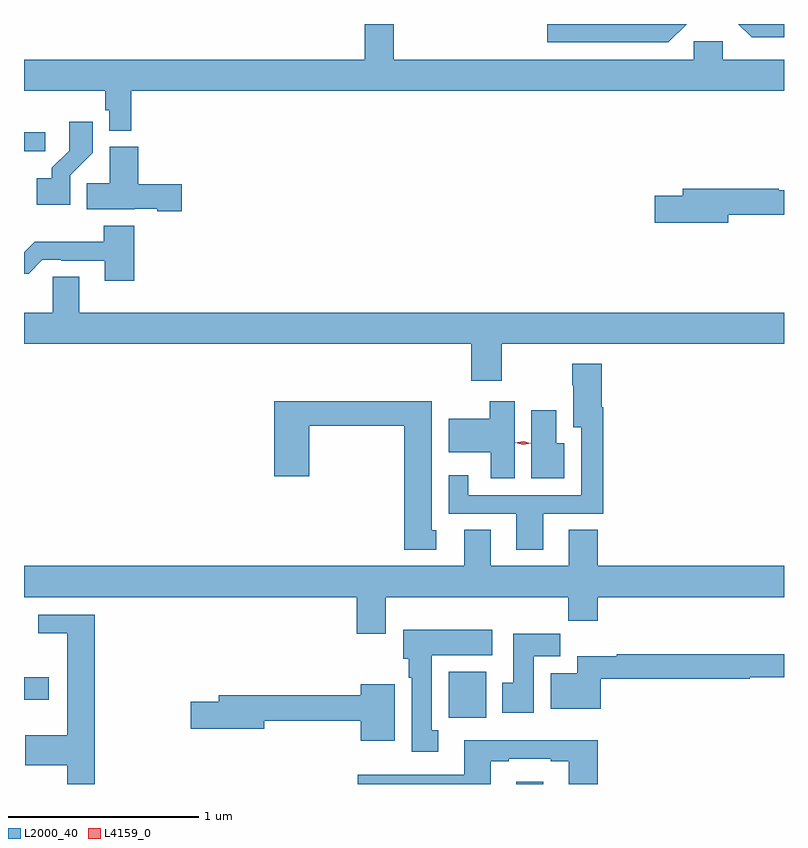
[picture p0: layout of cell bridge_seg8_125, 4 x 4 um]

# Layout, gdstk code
import gdstk
lib = gdstk.Library(unit=1e-6, precision=1e-09)
def R(c, l, rs):  # rectangles x0, y0, x1, y1
    for r in rs: c.add(gdstk.rectangle(r[:2], r[2:], *l))
def P(c, l, *ps):  # polygons
    for p in ps: c.add(gdstk.Polygon(p, *l))
L2000_40 = (2000, 40)
L4159_0 = (4159, 0)

bridge_seg8_125 = lib.new_cell('bridge_seg8_125')
R(bridge_seg8_125, L2000_40, [(858.803,1148.816,858.943,1148.827), (858.446,1149.164,858.643,1149.406), (856.211,1149.26,856.342,1149.379), (856.211,1152.147,856.324,1152.246)])
P(bridge_seg8_125, L2000_40, [(856.775,1152.464),(860.211,1152.464),(860.211,1152.628),(859.889,1152.628),(859.889,1152.726),(859.737,1152.726),(859.737,1152.628),(858.157,1152.628),(858.157,1152.816),(858.005,1152.816),(858.005,1152.628),(856.211,1152.628),(856.211,1152.464),(856.639,1152.464),(856.639,1152.363),(856.659,1152.363),(856.659,1152.254),(856.775,1152.254)],
  [(858.843,1152.816),(858.245,1152.816),(858.245,1152.815),(858.842,1152.815)],
  [(860.211,1152.816),(859.97,1152.816),(860.04,1152.746),(860.211,1152.746)],
  [(859.699,1152.816),(858.966,1152.816),(858.966,1152.72),(859.603,1152.72)],
  [(856.455,1152.019),(856.574,1152.138),(856.574,1152.301),(856.449,1152.301),(856.449,1152.149),(856.358,1152.059),(856.358,1152.004),(856.278,1152.004),(856.278,1151.864),(856.455,1151.864)],
  [(857.041,1151.973),(856.811,1151.973),(856.811,1152.169),(856.661,1152.169),(856.661,1151.978),(856.54,1151.978),(856.54,1151.84),(856.794,1151.84),(856.794,1151.843),(856.911,1151.843),(856.911,1151.831),(857.041,1151.831)],
  [(859.918,1151.812),(860.211,1151.812),(860.211,1151.941),(860.183,1151.941),(860.183,1151.948),(859.679,1151.948),(859.679,1151.912),(859.53,1151.912),(859.53,1151.77),(859.918,1151.77)],
  [(856.79,1151.755),(856.63,1151.755),(856.63,1151.671),(856.267,1151.671),(856.211,1151.615),(856.211,1151.501),(856.235,1151.501),(856.308,1151.574),(856.408,1151.574),(856.408,1151.571),(856.637,1151.571),(856.637,1151.466),(856.79,1151.466)],
  [(858.726,1151.132),(860.211,1151.132),(860.211,1151.296),(856.501,1151.296),(856.501,1151.486),(856.362,1151.486),(856.362,1151.296),(856.211,1151.296),(856.211,1151.132),(858.566,1151.132),(858.566,1150.938),(858.726,1150.938)],
  [(858.943,1150.239),(859.259,1150.239),(859.259,1150.798),(859.253,1150.798),(859.253,1151.029),(859.096,1151.029),(859.096,1150.916),(859.103,1150.916),(859.103,1150.694),(859.143,1150.694),(859.143,1150.335),(858.55,1150.335),(858.55,1150.441),(858.446,1150.441),(858.446,1150.239),(858.803,1150.239),(858.803,1150.05),(858.943,1150.05)],
  [(858.793,1150.831),(858.661,1150.831),(858.661,1150.738),(858.446,1150.738),(858.446,1150.562),(858.668,1150.562),(858.668,1150.424),(858.793,1150.424)],
  [(858.382,1150.152),(858.358,1150.152),(858.358,1150.831),(857.528,1150.831),(857.528,1150.437),(857.711,1150.437),(857.711,1150.702),(858.212,1150.702),(858.212,1150.05),(858.382,1150.05)],
  [(859.054,1150.609),(859.012,1150.609),(859.012,1150.783),(858.881,1150.783),(858.881,1150.424),(859.054,1150.424)],
  [(858.115,1149.8),(859.075,1149.8),(859.075,1149.676),(859.232,1149.676),(859.232,1149.8),(860.211,1149.8),(860.211,1149.964),(859.232,1149.964),(859.232,1150.154),(859.079,1150.154),(859.079,1149.964),(858.667,1149.964),(858.667,1150.154),(858.527,1150.154),(858.527,1149.964),(856.211,1149.964),(856.211,1149.8),(857.963,1149.8),(857.963,1149.606),(858.115,1149.606)],
  [(856.583,1149.708),(856.287,1149.708),(856.287,1149.61),(856.439,1149.61),(856.439,1149.073),(856.218,1149.073),(856.218,1148.915),(856.439,1148.915),(856.439,1148.816),(856.583,1148.816)],
  [(858.391,1149.098),(858.358,1149.098),(858.358,1149.494),(858.676,1149.494),(858.676,1149.628),(858.206,1149.628),(858.206,1149.474),(858.236,1149.474),(858.236,1149.374),(858.251,1149.374),(858.251,1148.985),(858.391,1148.985)],
  [(858.895,1149.488),(859.034,1149.488),(859.034,1149.607),(858.785,1149.607),(858.785,1149.348),(858.728,1149.348),(858.728,1149.192),(858.895,1149.192)],
  [(859.247,1149.37),(860.03,1149.37),(860.03,1149.378),(860.211,1149.378),(860.211,1149.499),(859.33,1149.499),(859.33,1149.488),(859.124,1149.488),(859.124,1149.4),(858.983,1149.4),(858.983,1149.212),(859.247,1149.212)],
  [(858.163,1149.34),(857.984,1149.34),(857.984,1149.284),(857.237,1149.284),(857.237,1149.248),(857.088,1149.248),(857.088,1149.106),(857.476,1149.106),(857.476,1149.148),(857.984,1149.148),(857.984,1149.044),(858.163,1149.044)],
  [(858.667,1148.937),(858.763,1148.937),(858.763,1148.949),(858.983,1148.949),(858.983,1148.937),(859.079,1148.937),(859.079,1148.816),(859.232,1148.816),(859.232,1149.046),(858.527,1149.046),(858.527,1148.865),(857.967,1148.865),(857.967,1148.816),(858.667,1148.816)])
P(bridge_seg8_125, L4159_0, [(858.838,1150.601),(858.797,1150.612),(858.797,1150.612),(858.797,1150.613),(858.838,1150.621),(858.879,1150.61),(858.879,1150.61),(858.879,1150.61)])

lib.write_gds('bridge_seg8_125.gds')
